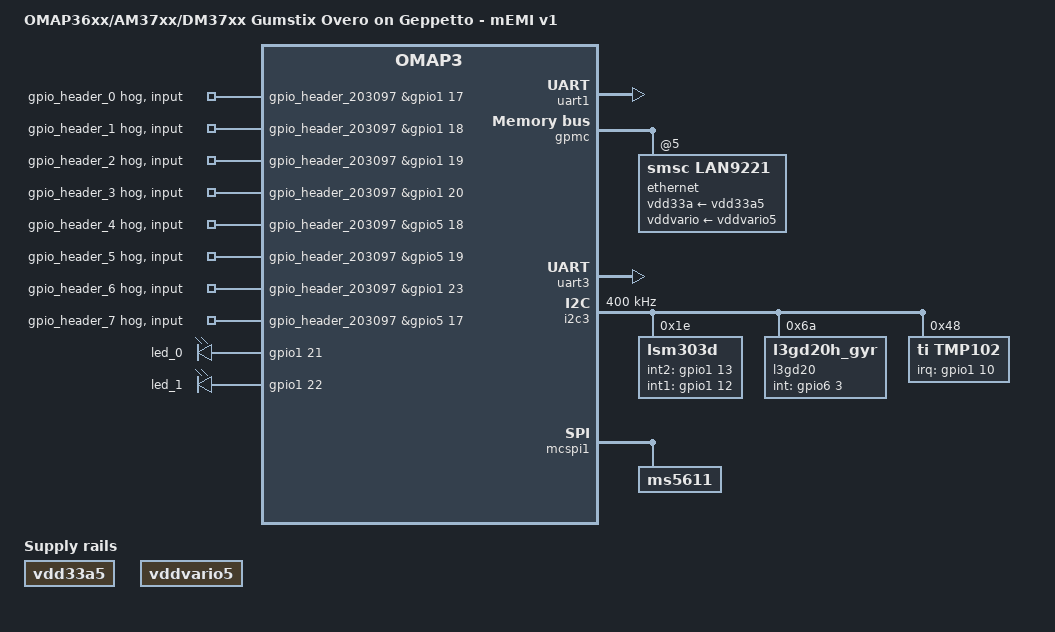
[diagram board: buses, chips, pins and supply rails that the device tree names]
/*
* Copyright (C) 2017 Gumstix, Inc. - https://www.gumstix.com/
*
* This program is free software; you can redistribute it and/or modify
* it under the terms of the GNU General Public License version 2 as
* published by the Free Software Foundation.
*/
/dts-v1/;

#include <dt-bindings/input/input.h>
#include <dt-bindings/interrupt-controller/irq.h>
#include "omap3-overo-storm.dtsi"

/{
    model = "OMAP36xx/AM37xx/DM37xx Gumstix Overo on Geppetto - mEMI v1";
    compatible = "gumstix,omap3-overo-memi-v1", "gumstix,omap3-overo", "ti,omap36xx", "ti,omap3";


    vdd33a5: regulator-vdd33a {
        status = "okay";
        compatible = "regulator-fixed";
        regulator-name = "vdd33a";
        regulator-always-on;
    };
    vddvario5: regulator-vddvario {
        status = "okay";
        compatible = "regulator-fixed";
        regulator-name = "vddvario";
        regulator-always-on;
    };
    gpio_header_203097 {
        status = "okay";
        pinctrl-names = "default";
        pinctrl-0 = <&gpio_header_203097_default>;
        type = "gpio_header";

        gpio_header_0 {
            label = "gpio_header_0";
            type = "gpio_header";
            gpios = <&gpio1 17 0>;
            gpio-hog;
            input;
        };

        gpio_header_1 {
            label = "gpio_header_1";
            type = "gpio_header";
            gpios = <&gpio1 18 0>;
            gpio-hog;
            input;
        };

        gpio_header_2 {
            label = "gpio_header_2";
            type = "gpio_header";
            gpios = <&gpio1 19 0>;
            gpio-hog;
            input;
        };

        gpio_header_3 {
            label = "gpio_header_3";
            type = "gpio_header";
            gpios = <&gpio1 20 0>;
            gpio-hog;
            input;
        };

        gpio_header_4 {
            label = "gpio_header_4";
            type = "gpio_header";
            gpios = <&gpio5 18 0>;
            gpio-hog;
            input;
        };

        gpio_header_5 {
            label = "gpio_header_5";
            type = "gpio_header";
            gpios = <&gpio5 19 0>;
            gpio-hog;
            input;
        };

        gpio_header_6 {
            label = "gpio_header_6";
            type = "gpio_header";
            gpios = <&gpio1 23 0>;
            gpio-hog;
            input;
        };

        gpio_header_7 {
            label = "gpio_header_7";
            type = "gpio_header";
            gpios = <&gpio5 17 0>;
            gpio-hog;
            input;
        };
    };
    leds {
        status = "okay";
        pinctrl-names = "default";
        pinctrl-0 = <&leds_default>;
        compatible = "gpio-leds";
        trigger = "none";
        default-state = "off";
        type = "led";

        led_0 {
            label = "led_0";
            trigger = "none";
            default-state = "off";
            type = "led";
            gpios = <&gpio1 21 GPIO_ACTIVE_HIGH>;
        };

        led_1 {
            label = "led_1";
            trigger = "none";
            default-state = "off";
            type = "led";
            gpios = <&gpio1 22 GPIO_ACTIVE_HIGH>;
        };
    };

};

&vpll2 {
    regulator-always-on;
};



// uart1 device

&uart1 {
    status = "okay";
    pinctrl-names = "default";
    pinctrl-0 = <&uart1_default>;
};

// ethernet device

&gpmc {
    status = "okay";
    pinctrl-names = "default";
    pinctrl-0 = <&smsc_default>;
    ranges = <5 0 738197504 16777216>;
    type = "ethernet";

        ethernet@5,0 {
            gpmc,rd-cycle-ns = <50>;
            phy-mode = "mii";
            vdd33a-supply = <&vdd33a5>;
            gpmc,wr-access-ns = <50>;
            gpmc,adv-wr-off-ns = <10>;
            gpmc,cs-rd-off-ns = <50>;
            gpmc,device-width = <1>;
            gpmc,sync-clk-ps = <20000>;
            gpmc,oe-off-ns = <50>;
            gpmc,wr-cycle-ns = <50>;
            reg-io-width = <4>;
            gpmc,cs-wr-off-ns = <50>;
            gpmc,cycle2cycle-delay-ns = <35>;
            gpmc,page-burst-access-ns = <0>;
            gpmc,oe-on-ns = <15>;
            compatible = "smsc,lan9221",
    		"smsc,lan9115";
            gpmc,bus-turnaround-ns = <35>;
            gpmc,adv-rd-off-ns = <10>;
            gpmc,we-on-ns = <15>;
            bank-width = <2>;
            gpmc,wr-data-mux-bus-ns = <35>;
            gpmc,clk-activation-ns = <5>;
            gpmc,cs-on-ns = <10>;
            gpmc,access-ns = <50>;
            vddvario-supply = <&vddvario5>;
            gpmc,adv-on-ns = <0>;
            reg = <5 0 0xff>;
            gpmc,wait-monitoring-ns = <0>;
            gpmc,we-off-ns = <50>;
            gpmc,sync-read;
            gpmc,sync-write;
            smsc,save-mac-address;
            gpmc,mux-add-data;
            gpmc,cycle2cycle-samecsen;
            gpmc,cycle2cycle-diffcsen;
        };
};

// uart3 device

&uart3 {
    status = "okay";
    pinctrl-names = "default";
    pinctrl-0 = <&uart3_default>;
    type = "uart";
};

// i2c_buses device

&i2c3 {
    status = "okay";
    pinctrl-names = "default";
    pinctrl-0 = <&i2c3_default>;
    clock-frequency = <400000>;

        lsm303d: lsm303d@1e {
            compatible = "lsm303d";
            type = "i2c";
            reg = <30>;
            int2-gpio = <&gpio1 13 GPIO_ACTIVE_HIGH>;
            int1-gpio = <&gpio1 12 GPIO_ACTIVE_HIGH>;
        };

        l3gd20: l3gd20@6a {
            compatible = "l3gd20h_gyr";
            type = "i2c";
            reg = <106>;
            int-gpio = <&gpio6 3 GPIO_ACTIVE_HIGH>;
        };

        tmp102: tmp102@48 {
            reg = <72>;
            compatible = "ti,tmp102";
            type = "i2c";
    
            interrupt-parent = <&gpio1>;
            interrupts =<10 IRQ_TYPE_LEVEL_LOW>;
        };
};

// spi_buses device

&mcspi1 {
    status = "okay";
    pinctrl-names = "default";
    pinctrl-0 = <&mcspi1_default>;
    compatible = "ms5611";
    type = "spi";

        ms5611 {
            compatible = "ms5611";
            type = "spi";
        };
};




&omap3_pmx_core {
    mcspi1_default: pinmux_mcspi1_default {
        pinctrl-single,pins = <
            OMAP3_CORE1_IOPAD(0x21c8, MUX_MODE0 | PIN_INPUT) /* mcspi1_clk.mcspi1_clk */
            OMAP3_CORE1_IOPAD(0x21cc, MUX_MODE0 | PIN_INPUT) /* mcspi1_cs0.mcspi1_cs0 */
            OMAP3_CORE1_IOPAD(0x21d0, MUX_MODE0 | PIN_INPUT) /* mcspi1_cs1.mcspi1_cs1 */
            OMAP3_CORE1_IOPAD(0x21ce, MUX_MODE0 | PIN_INPUT) /* mcspi1_somi.mcspi1_somi */
            OMAP3_CORE1_IOPAD(0x21ca, MUX_MODE0 | PIN_INPUT) /* mcspi1_simo.mcspi1_simo */
        >;
    };
    uart1_default: pinmux_uart1_default {
        pinctrl-single,pins = <
            OMAP3_CORE1_IOPAD(0x2182, MUX_MODE0 | PIN_INPUT) /* uart1_rx.uart1_rx */
            OMAP3_CORE1_IOPAD(0x217c, MUX_MODE0 | PIN_OUTPUT) /* uart1_tx.uart1_tx */
        >;
    };
    smsc_default: pinmux_smsc_default {
        pinctrl-single,pins = <
            OMAP3_CORE1_IOPAD(0x21d2, MUX_MODE4 | PIN_INPUT) /* mcspi1_cs2.gpio_176 */
            OMAP3_CORE1_IOPAD(0x20d2, MUX_MODE4 | PIN_INPUT) /* gpmc_wait3.gpio_65 */
        >;
    };
    uart3_default: pinmux_uart3_default {
        pinctrl-single,pins = <
            OMAP3_CORE1_IOPAD(0x219e, MUX_MODE0 | PIN_INPUT) /* uart3_rx_irrx.uart3_rx_irrx */
            OMAP3_CORE1_IOPAD(0x21a0, MUX_MODE0 | PIN_OUTPUT) /* uart3_tx_irtx.uart3_tx_irtx */
        >;
    };
    i2c3_default: pinmux_i2c3_default {
        pinctrl-single,pins = <
            OMAP3_CORE1_IOPAD(0x21c2, MUX_MODE0 | PIN_INPUT) /* i2c3_scl.i2c3_scl */
            OMAP3_CORE1_IOPAD(0x21c4, MUX_MODE0 | PIN_INPUT) /* i2c3_sda.i2c3_sda */
            OMAP3_CORE1_IOPAD(0x25da, MUX_MODE4 | PIN_INPUT) /* etk_ctl.gpio_13 */
            OMAP3_CORE1_IOPAD(0x25d8, MUX_MODE4 | PIN_INPUT) /* etk_clk.gpio_12 */
            OMAP3_CORE1_IOPAD(0x219a, MUX_MODE4 | PIN_INPUT) /* uart3_cts_rctx.gpio_163 */
        >;
    };
};


&omap3_pmx_core2 {
    gpio_header_203097_default: pinmux_gpio_header_203097_default {
        pinctrl-single,pins = <
            OMAP3630_CORE2_IOPAD(0x25e2, MUX_MODE4 | PIN_INPUT) /* etk_d3.gpio_17 */
            OMAP3630_CORE2_IOPAD(0x25e4, MUX_MODE4 | PIN_INPUT) /* etk_d4.gpio_18 */
            OMAP3630_CORE2_IOPAD(0x25e6, MUX_MODE4 | PIN_INPUT) /* etk_d5.gpio_19 */
            OMAP3630_CORE2_IOPAD(0x25e8, MUX_MODE4 | PIN_INPUT) /* etk_d6.gpio_20 */
            OMAP3630_CORE2_IOPAD(0x2178, MUX_MODE4 | PIN_INPUT) /* uart2_tx.gpio_146 */
            OMAP3630_CORE2_IOPAD(0x217a, MUX_MODE4 | PIN_INPUT) /* uart2_rx.gpio_147 */
            OMAP3630_CORE2_IOPAD(0x25ee, MUX_MODE4 | PIN_INPUT) /* etk_d9.gpio_23 */
            OMAP3630_CORE2_IOPAD(0x2176, MUX_MODE4 | PIN_INPUT) /* uart2_rts.gpio_145 */
        >;
    };
    leds_default: pinmux_leds_default {
        pinctrl-single,pins = <
            OMAP3630_CORE2_IOPAD(0x25ea, MUX_MODE4 | PIN_INPUT) /* etk_d7.gpio_21 */
            OMAP3630_CORE2_IOPAD(0x25ec, MUX_MODE4 | PIN_INPUT) /* etk_d8.gpio_22 */
        >;
    };
};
